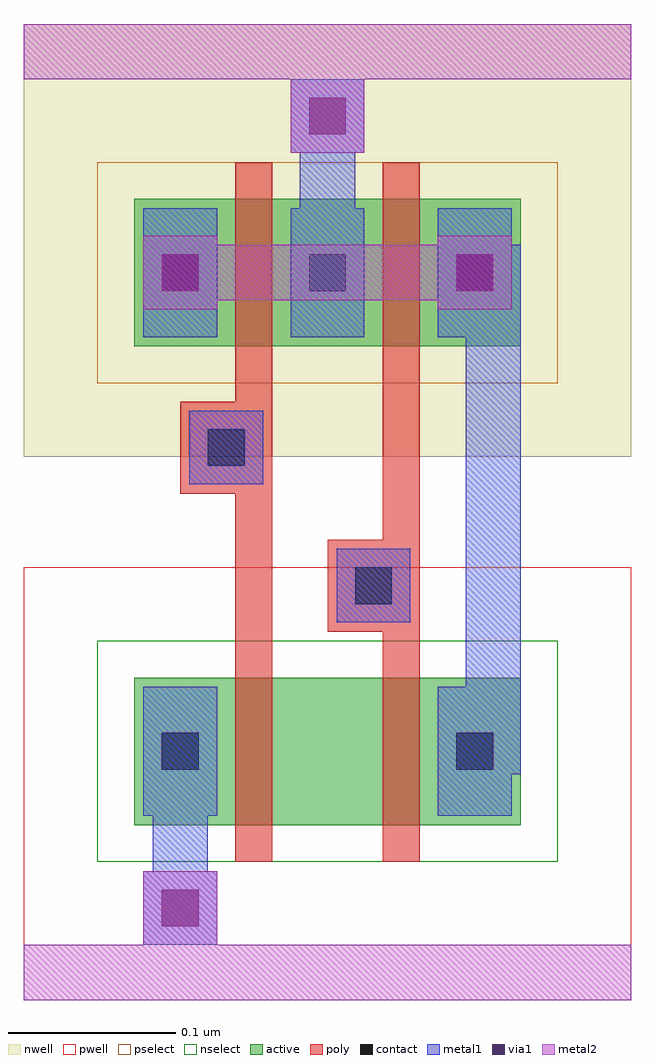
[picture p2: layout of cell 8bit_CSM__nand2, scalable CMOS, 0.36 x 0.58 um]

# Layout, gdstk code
import gdstk
lib = gdstk.Library(unit=1e-6, precision=1e-11)
def R(c, l, rs):  # rectangles x0, y0, x1, y1
    for r in rs: c.add(gdstk.rectangle(r[:2], r[2:], *l))
def A(c, l, x, y, w, h, nx, ny, dx, dy):  # array of equal rectangles
    R(c, l, [(x+i*dx, y+j*dy, x+i*dx+w, y+j*dy+h) for i in range(nx) for j in range(ny)])
contact = (25, 0)
pwell = (41, 0)
nwell = (42, 0)
active = (43, 0)
pselect = (44, 0)
nselect = (45, 0)
poly = (46, 0)
metal1 = (49, 0)
via1 = (50, 0)
metal2 = (51, 0)

c_8bit_csm__nand2 = lib.new_cell('8bit_CSM__nand2')
R(c_8bit_csm__nand2, contact, [(-0.099,-0.165,-0.077,-0.143), (-0.099,-0.165,-0.077,-0.143), (0.077,-0.165,0.099,-0.143), (0.077,-0.165,0.099,-0.143), (0.0165,-0.066,0.0385,-0.044), (-0.0715,0.0165,-0.0495,0.0385), (-0.099,0.121,-0.077,0.143), (-0.099,0.121,-0.077,0.143), (-0.011,0.121,0.011,0.143), (-0.011,0.121,0.011,0.143), (0.077,0.121,0.099,0.143)])
R(c_8bit_csm__nand2, pwell, [(-0.1815,-0.3025,0.1815,-0.2805), (-0.1815,-0.286,0.1815,-0.264), (-0.1815,-0.264,0.0055,-0.044), (-0.154,-0.264,0.066,-0.044), (-0.0852,-0.264,0.0852,-0.099), (-0.066,-0.264,0.154,-0.044), (-0.0055,-0.264,0.1815,-0.044), (-0.1815,-0.2475,0.0055,-0.0605), (-0.0055,-0.2475,0.1815,-0.0605), (-0.176,-0.2365,-0.0055,-0.0715), (-0.1705,-0.2365,-0.0027,-0.0715), (0.0027,-0.2365,0.1705,-0.0715), (0.0027,-0.2365,0.176,-0.0715), (-0.0852,-0.209,0.0852,-0.044)])
A(c_8bit_csm__nand2, nwell, -0.1815, 0.022, 0.187, 0.22, 3, 1, 0.088, 0)
R(c_8bit_csm__nand2, nwell, [(-0.154,0.022,0.066,0.242), (-0.066,0.022,0.154,0.242), (-0.176,0.033,-0.0027,0.198), (-0.1815,0.0385,0.0055,0.2255), (-0.0935,0.0385,0.0935,0.2255), (-0.1705,0.0495,-0.0027,0.2145), (-0.0852,0.0495,0.088,0.2145), (-0.0852,0.0495,0.0825,0.2145), (-0.0825,0.0495,0.0852,0.2145), (0.0027,0.0495,0.176,0.2145), (-0.1815,0.242,0.1815,0.264), (-0.1815,0.2585,0.1815,0.2805)])
A(c_8bit_csm__nand2, active, -0.1155, 0.088, 0.055, 0.088, 3, 1, 0.088, 0)
R(c_8bit_csm__nand2, active, [(-0.1155,-0.198,-0.0605,-0.11), (-0.088,-0.198,0,-0.11), (-0.0192,-0.198,0.0192,-0.165), (0,-0.198,0.088,-0.11), (0.0605,-0.198,0.1155,-0.11), (-0.1155,-0.1815,-0.0605,-0.1265), (0.0605,-0.1815,0.1155,-0.1265), (-0.11,-0.1705,-0.0715,-0.1375), (-0.1045,-0.1705,-0.0687,-0.1375), (0.0687,-0.1705,0.1045,-0.1375), (0.0687,-0.1705,0.11,-0.1375), (-0.0192,-0.143,0.0192,-0.11), (-0.088,0.088,0,0.176), (0,0.088,0.088,0.176), (-0.11,0.099,-0.0687,0.132), (-0.1155,0.1045,-0.0605,0.1595), (-0.0275,0.1045,0.0275,0.1595), (-0.1045,0.1155,-0.0687,0.1485), (-0.0192,0.1155,0.0165,0.1485), (-0.0192,0.1155,0.022,0.1485), (-0.0165,0.1155,0.0192,0.1485), (0.0687,0.1155,0.11,0.1485)])
A(c_8bit_csm__nand2, pselect, -0.1375, 0.066, 0.099, 0.132, 3, 1, 0.088, 0)
R(c_8bit_csm__nand2, pselect, [(-0.11,0.066,0.022,0.198), (-0.022,0.066,0.11,0.198), (-0.132,0.077,-0.0467,0.154), (-0.1375,0.0825,-0.0385,0.1815), (-0.0495,0.0825,0.0495,0.1815), (-0.1265,0.0935,-0.0467,0.1705), (-0.0412,0.0935,0.044,0.1705), (-0.0412,0.0935,0.0385,0.1705), (-0.0385,0.0935,0.0412,0.1705), (0.0467,0.0935,0.132,0.1705)])
R(c_8bit_csm__nand2, nselect, [(-0.1375,-0.22,-0.0385,-0.088), (-0.11,-0.22,0.022,-0.088), (-0.0412,-0.22,0.0412,-0.143), (-0.022,-0.22,0.11,-0.088), (0.0385,-0.22,0.1375,-0.088), (-0.1375,-0.2035,-0.0385,-0.1045), (0.0385,-0.2035,0.1375,-0.1045), (-0.132,-0.1925,-0.0495,-0.1155), (-0.1265,-0.1925,-0.0467,-0.1155), (0.0467,-0.1925,0.1265,-0.1155), (0.0467,-0.1925,0.132,-0.1155), (-0.0412,-0.165,0.0412,-0.088)])
R(c_8bit_csm__nand2, poly, [(-0.055,-0.22,-0.033,-0.088), (0.033,-0.22,0.055,-0.088), (-0.055,-0.099,-0.033,0.0385), (0.033,-0.099,0.055,-0.0495), (0,-0.0825,0.055,-0.0275), (0.0165,-0.0715,0.055,-0.0495), (0.033,-0.0715,0.055,0.077), (-0.088,0,-0.033,0.055), (-0.077,0.0165,-0.033,0.0385), (-0.055,0.0165,-0.033,0.077), (-0.055,0.066,-0.033,0.198), (0.033,0.066,0.055,0.198)])
A(c_8bit_csm__nand2, metal1, -0.11, 0.0935, 0.044, 0.077, 3, 1, 0.088, 0)
A(c_8bit_csm__nand2, metal1, -0.11, 0.11, 0.044, 0.044, 3, 1, 0.088, 0)
R(c_8bit_csm__nand2, metal1, [(-0.11,-0.2695,-0.066,-0.2255), (-0.1045,-0.2585,-0.0715,-0.1375), (-0.11,-0.1925,-0.066,-0.1155), (0.066,-0.1925,0.11,-0.1155), (0.066,-0.187,0.11,-0.132), (-0.11,-0.176,-0.066,-0.132), (0.066,-0.176,0.11,-0.132), (0.066,-0.176,0.11,-0.132), (0.0715,-0.1705,0.1045,-0.1375), (0.0715,-0.1705,0.1045,-0.1347), (0.0715,-0.1677,0.1155,-0.1347), (0.0825,-0.1677,0.1155,0.0082), (0.0055,-0.077,0.0495,-0.033), (0.011,-0.0715,0.044,-0.0385), (0.0825,-0.0247,0.1155,0.0082), (0.0825,-0.0247,0.1155,0.1485), (-0.0825,0.0055,-0.0385,0.0495), (-0.077,0.011,-0.044,0.044), (-0.11,0.11,-0.066,0.154), (-0.11,0.11,-0.066,0.165), (0.066,0.11,0.11,0.165), (-0.0165,0.1155,0.0165,0.242), (0.0715,0.1155,0.1155,0.1485), (-0.022,0.2035,0.022,0.2475)])
R(c_8bit_csm__nand2, via1, [(-0.099,-0.2585,-0.077,-0.2365), (-0.099,0.121,-0.077,0.143), (0.077,0.121,0.099,0.143), (-0.011,0.2145,0.011,0.2365)])
R(c_8bit_csm__nand2, metal2, [(-0.1815,-0.3025,-0.0715,-0.2695), (-0.1045,-0.3025,-0.0715,-0.231), (-0.1045,-0.3025,0.1815,-0.2695), (-0.11,-0.2695,-0.066,-0.2255), (-0.11,0.11,-0.066,0.154), (0.066,0.11,0.11,0.154), (-0.1045,0.1155,0.1045,0.1485), (-0.022,0.2035,0.022,0.2475), (-0.0165,0.209,0.0165,0.2805), (-0.1815,0.2475,0.033,0.2805), (-0.0165,0.2475,0.033,0.2805), (0,0.2475,0.1815,0.2805)])

lib.write_gds('8bit_CSM__nand2.gds')
